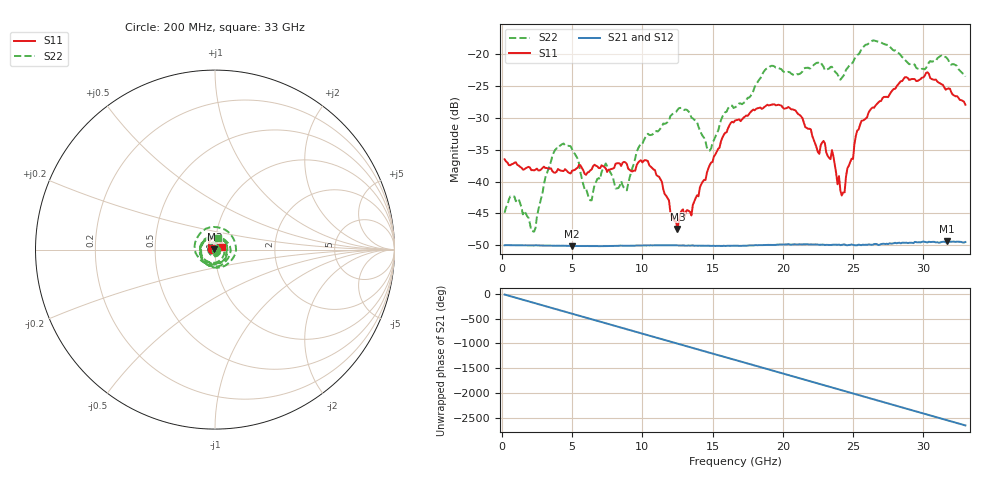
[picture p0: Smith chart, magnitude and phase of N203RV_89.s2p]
# GHZ S RI R 50
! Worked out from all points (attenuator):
!   329 points, 200 MHz to 33 GHz, reference 50 ohm
!   highest |S21| = -49.36 dB at 31.7 GHz (marker M1); lowest = -50.1 dB at 5 GHz (marker M2)
!   lowest |S11| = -47.4 dB at 12.5 GHz (marker M3), VSWR 1.01, Z = 49.6 + j0.199 ohm
!   |S11| at or under -10 dB: start of sweep to end of sweep
!   |S22| runs from -47.8 to -17.9 dB; largest |S21 - S12| = 7.3e-05
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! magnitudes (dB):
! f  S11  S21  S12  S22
! 200 MHz  -36.5  -50.0  -49.9  -44.9
! 1.2 GHz  -37.5  -50.0  -50.0  -42.7
! 2.3 GHz  -38.2  -50.0  -50.0  -47.8
! 3.7 GHz  -38.6  -50.0  -50.0  -35.4
! 5 GHz  -38.3  -50.1  -50.1  -34.9
! 5.7 GHz  -37.9  -50.1  -50.1  -39.5
! 6.4 GHz  -38.1  -50.1  -50.1  -42.9
! 7.4 GHz  -37.9  -50.1  -50.1  -37.2
! 8.9 GHz  -37.2  -50.1  -50.0  -41.4
! 9.8 GHz  -36.8  -50.0  -50.0  -34.4
! 11.2 GHz  -39.3  -50.0  -50.0  -32.0
! 12.5 GHz  -47.4  -50.0  -50.0  -28.8
! 14.8 GHz  -37.4  -50.1  -50.1  -35.2
! 16.6 GHz  -30.4  -50.0  -50.0  -28.4
! 19.7 GHz  -28.0  -49.9  -49.9  -22.2
! 22.1 GHz  -32.9  -49.9  -49.8  -22.0
! 23.5 GHz  -35.1  -49.9  -49.9  -22.0
! 24.2 GHz  -42.2  -49.9  -49.9  -23.8
! 25.6 GHz  -30.5  -50.0  -49.8  -19.2
! 27.6 GHz  -26.4  -49.7  -49.7  -18.8
! 31.7 GHz  -25.5  -49.4  -49.5  -20.7
! 33 GHz  -28.0  -49.5  -49.5  -23.6
